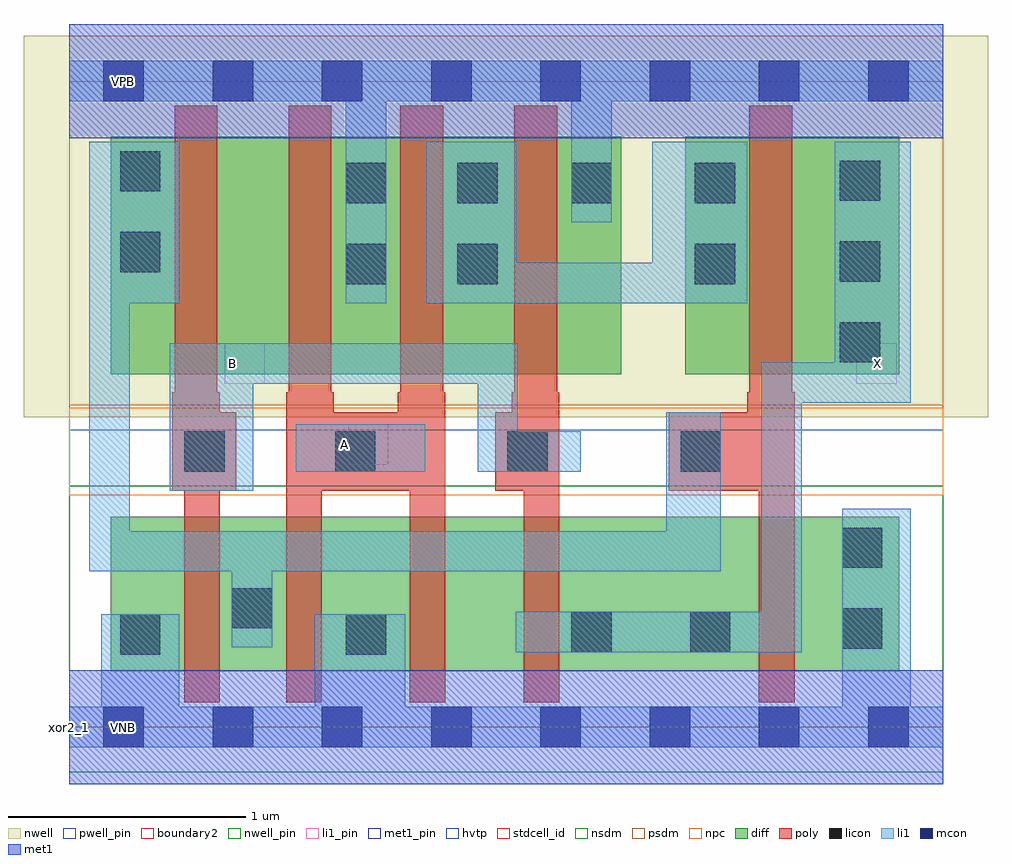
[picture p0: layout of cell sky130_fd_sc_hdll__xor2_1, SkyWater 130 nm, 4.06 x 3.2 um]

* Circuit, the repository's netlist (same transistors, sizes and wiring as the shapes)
* Copyright 2020 The SkyWater PDK Authors
*
* Licensed under the Apache License, Version 2.0 (the "License");
* you may not use this file except in compliance with the License.
* You may obtain a copy of the License at
*
*     https://www.apache.org/licenses/LICENSE-2.0
*
* Unless required by applicable law or agreed to in writing, software
* distributed under the License is distributed on an "AS IS" BASIS,
* WITHOUT WARRANTIES OR CONDITIONS OF ANY KIND, either express or implied.
* See the License for the specific language governing permissions and
* limitations under the License.
*
* SPDX-License-Identifier: Apache-2.0

.SUBCKT sky130_fd_sc_hdll__xor2_1 A B VGND VNB VPB VPWR X
*.PININFO A:I B:I VGND:I VNB:I VPB:I VPWR:I X:O
MMNnor0 inor A VGND VNB sky130_fd_pr__nfet_01v8 m=1 w=0.65U l=0.15U mult=1 sa=0.265
+ sb=0.265 sd=0.28 area=0.063 perim=1.14
MMNnor1 inor B VGND VNB sky130_fd_pr__nfet_01v8 m=1 w=0.65U l=0.15U mult=1 sa=0.265
+ sb=0.265 sd=0.28 area=0.063 perim=1.14
MMNaoi10 VGND A sndNA VNB sky130_fd_pr__nfet_01v8 m=1 w=0.65U l=0.15U mult=1 sa=0.265
+ sb=0.265 sd=0.28 area=0.063 perim=1.14
MMNaoi11 sndNA B X VNB sky130_fd_pr__nfet_01v8 m=1 w=0.65U l=0.15U mult=1 sa=0.265
+ sb=0.265 sd=0.28 area=0.063 perim=1.14
MMNaoi20 X inor VGND VNB sky130_fd_pr__nfet_01v8 m=1 w=0.65U l=0.15U mult=1 sa=0.265
+ sb=0.265 sd=0.28 area=0.063 perim=1.14
MMPnor0 VPWR A sndPA VPB sky130_fd_pr__pfet_01v8_hvt m=1 w=1.0U l=0.18U mult=1
+ sa=0.265 sb=0.265 sd=0.28 area=0.063 perim=1.14
MMPnor1 sndPA B inor VPB sky130_fd_pr__pfet_01v8_hvt m=1 w=1.0U l=0.18U mult=1
+ sa=0.265 sb=0.265 sd=0.28 area=0.063 perim=1.14
MMPaoi10 pmid A VPWR VPB sky130_fd_pr__pfet_01v8_hvt m=1 w=1.0U l=0.18U mult=1
+ sa=0.265 sb=0.265 sd=0.28 area=0.063 perim=1.14
MMPaoi11 pmid B VPWR VPB sky130_fd_pr__pfet_01v8_hvt m=1 w=1.0U l=0.18U mult=1
+ sa=0.265 sb=0.265 sd=0.28 area=0.063 perim=1.14
MMPaoi20 X inor pmid VPB sky130_fd_pr__pfet_01v8_hvt m=1 w=1.0U l=0.18U mult=1
+ sa=0.265 sb=0.265 sd=0.28 area=0.063 perim=1.14
.ENDS sky130_fd_sc_hdll__xor2_1

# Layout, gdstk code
import gdstk
lib = gdstk.Library(unit=1e-6, precision=1e-09)
def R(c, l, rs):  # rectangles x0, y0, x1, y1
    for r in rs: c.add(gdstk.rectangle(r[:2], r[2:], *l))
def A(c, l, x, y, w, h, nx, ny, dx, dy):  # array of equal rectangles
    R(c, l, [(x+i*dx, y+j*dy, x+i*dx+w, y+j*dy+h) for i in range(nx) for j in range(ny)])
def P(c, l, *ps):  # polygons
    for p in ps: c.add(gdstk.Polygon(p, *l))
nwell_pin = (64, 16)
nwell = (64, 20)
diff = (65, 20)
poly = (66, 20)
licon = (66, 44)
li1_pin = (67, 16)
li1 = (67, 20)
mcon = (67, 44)
met1_pin = (68, 16)
met1 = (68, 20)
hvtp = (78, 44)
stdcell_id = (81, 4)
nsdm = (93, 44)
psdm = (94, 20)
npc = (95, 20)
pwell_pin = (122, 16)
boundary2 = (236, 0)

sky130_fd_sc_hdll__xor2_ = lib.new_cell('sky130_fd_sc_hdll__xor2_1')
R(sky130_fd_sc_hdll__xor2_, nwell_pin, [(0.145,2.635,0.315,2.805)])
R(sky130_fd_sc_hdll__xor2_, nwell, [(-0.19,1.305,3.87,2.91)])
R(sky130_fd_sc_hdll__xor2_, diff, [(0.175,0.235,3.495,0.885), (0.175,1.485,2.325,2.485), (2.595,1.485,3.495,2.485)])
P(sky130_fd_sc_hdll__xor2_, poly, [(0.705,1.325),(0.635,1.325),(0.635,1.41),(0.625,1.41),(0.625,2.615),(0.445,2.615),(0.445,1.41),(0.435,1.41),(0.435,0.995),(0.485,0.995),(0.485,0.105),(0.635,0.105),(0.635,0.995),(0.705,0.995)],
  [(1.585,1.41),(1.575,1.41),(1.575,2.615),(1.395,2.615),(1.395,1.41),(1.385,1.41),(1.385,1.325),(1.115,1.325),(1.115,1.41),(1.105,1.41),(1.105,2.615),(0.925,2.615),(0.925,1.41),(0.915,1.41),(0.915,0.105),(1.065,0.105),(1.065,0.995),(1.435,0.995),(1.435,0.105),(1.585,0.105)],
  [(2.065,1.41),(2.055,1.41),(2.055,2.615),(1.875,2.615),(1.875,1.41),(1.865,1.41),(1.865,1.325),(1.795,1.325),(1.795,0.995),(1.915,0.995),(1.915,0.105),(2.065,0.105)],
  [(3.055,1.41),(3.045,1.41),(3.045,2.615),(2.865,2.615),(2.865,1.41),(2.855,1.41),(2.855,1.325),(2.525,1.325),(2.525,0.995),(2.905,0.995),(2.905,0.105),(3.055,0.105)])
A(sky130_fd_sc_hdll__xor2_, licon, 3.245, 1.535, 0.17, 0.17, 1, 3, 0, 0.34)
R(sky130_fd_sc_hdll__xor2_, licon, [(0.215,0.305,0.385,0.475), (1.165,0.305,1.335,0.475), (2.115,0.315,2.285,0.485), (2.615,0.315,2.785,0.485), (3.255,0.33,3.425,0.5), (0.685,0.415,0.855,0.585), (3.255,0.67,3.425,0.84), (0.485,1.075,0.655,1.245), (1.12,1.075,1.29,1.245), (1.845,1.075,2.015,1.245), (2.575,1.075,2.745,1.245), (1.165,1.865,1.335,2.035), (1.635,1.865,1.805,2.035), (2.635,1.865,2.805,2.035), (0.215,1.915,0.385,2.085), (1.165,2.205,1.335,2.375), (1.635,2.205,1.805,2.375), (2.115,2.205,2.285,2.375), (2.635,2.205,2.805,2.375), (0.215,2.255,0.385,2.425)])
R(sky130_fd_sc_hdll__xor2_, li1_pin, [(1.175,1.105,1.345,1.275), (0.655,1.445,0.825,1.615), (3.315,1.445,3.485,1.615)])
R(sky130_fd_sc_hdll__xor2_, li1, [(0.955,1.075,1.5,1.275)])
P(sky130_fd_sc_hdll__xor2_, li1, [(2.155,1.245),(1.89,1.245),(1.89,1.615),(0.425,1.615),(0.425,0.995),(0.775,0.995),(0.775,1.445),(1.72,1.445),(1.72,1.075),(2.155,1.075)],
  [(2.745,1.325),(2.515,1.325),(2.515,0.825),(0.255,0.825),(0.255,1.785),(0.465,1.785),(0.465,2.465),(0.085,2.465),(0.085,0.655),(0.685,0.655),(0.685,0.335),(0.855,0.335),(0.855,0.655),(2.745,0.655)],
  [(2.855,2.465),(2.455,2.465),(2.455,1.955),(1.885,1.955),(1.885,2.465),(1.505,2.465),(1.505,1.785),(2.855,1.785)],
  [(3.545,2.465),(3.225,2.465),(3.225,1.535),(2.915,1.535),(2.915,0.485),(1.88,0.485),(1.88,0.315),(3.085,0.315),(3.085,1.365),(3.545,1.365)],
  [(3.68,2.805),(0,2.805),(0,2.635),(1.165,2.635),(1.165,1.785),(1.335,1.785),(1.335,2.635),(2.115,2.635),(2.115,2.125),(2.285,2.125),(2.285,2.635),(3.68,2.635)],
  [(3.68,0.085),(3.545,0.085),(3.545,0.92),(3.255,0.92),(3.255,0.085),(1.415,0.085),(1.415,0.475),(1.035,0.475),(1.035,0.085),(0.465,0.085),(0.465,0.475),(0.135,0.475),(0.135,0.085),(0,0.085),(0,-0.085),(3.68,-0.085)])
A(sky130_fd_sc_hdll__xor2_, mcon, 0.145, -0.085, 0.17, 0.17, 8, 2, 0.46, 2.72)
R(sky130_fd_sc_hdll__xor2_, met1_pin, [(0.145,-0.085,0.315,0.085), (0.145,2.635,0.315,2.805)])
R(sky130_fd_sc_hdll__xor2_, met1, [(0,-0.24,3.68,0.24), (0,2.48,3.68,2.96)])
R(sky130_fd_sc_hdll__xor2_, hvtp, [(0,1.25,3.68,2.72)])
R(sky130_fd_sc_hdll__xor2_, stdcell_id, [(0,0,3.68,2.72)])
R(sky130_fd_sc_hdll__xor2_, nsdm, [(0,-0.19,3.68,1.015)])
R(sky130_fd_sc_hdll__xor2_, psdm, [(0,1.355,3.68,2.91)])
R(sky130_fd_sc_hdll__xor2_, npc, [(0,0.975,3.68,1.345)])
R(sky130_fd_sc_hdll__xor2_, pwell_pin, [(0.145,-0.085,0.315,0.085)])
R(sky130_fd_sc_hdll__xor2_, boundary2, [(0,0,3.68,2.72)])
sky130_fd_sc_hdll__xor2_.add(gdstk.Label('B', (0.69,1.53), layer=67, texttype=5))
sky130_fd_sc_hdll__xor2_.add(gdstk.Label('X', (3.405,1.53), layer=67, texttype=5))
sky130_fd_sc_hdll__xor2_.add(gdstk.Label('A', (1.16,1.19), layer=67, texttype=5))
sky130_fd_sc_hdll__xor2_.add(gdstk.Label('VNB', (0.23,0), layer=64, texttype=59))
sky130_fd_sc_hdll__xor2_.add(gdstk.Label('VPB', (0.23,2.72), layer=64, texttype=5))
sky130_fd_sc_hdll__xor2_.add(gdstk.Label('VPWR', (0.23,2.72), layer=68, texttype=5))
sky130_fd_sc_hdll__xor2_.add(gdstk.Label('VGND', (0.23,0), layer=68, texttype=5))
sky130_fd_sc_hdll__xor2_.add(gdstk.Label('xor2_1', (0,0), layer=83, texttype=44))

lib.write_gds('sky130_fd_sc_hdll__xor2_1.gds')
